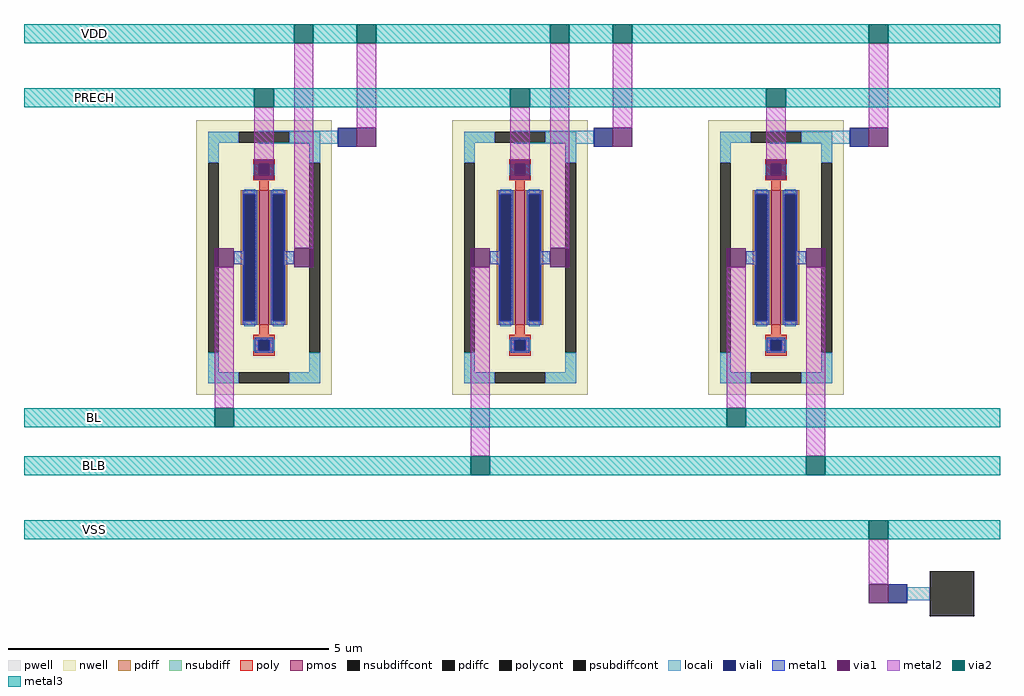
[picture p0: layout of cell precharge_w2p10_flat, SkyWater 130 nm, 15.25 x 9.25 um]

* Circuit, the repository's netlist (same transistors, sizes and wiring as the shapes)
* NGSPICE file created from precharge_w2p10_flat.ext - technology: sky130A

.subckt precharge_w2p10_flat VDD BL BLB PRECH VSS
X0 VDD PRECH BL VDD sky130_fd_pr__pfet_01v8 ad=0.609 pd=4.78 as=0.609 ps=4.78 w=2.1 l=0.15
X1 VDD PRECH BLB VDD sky130_fd_pr__pfet_01v8 ad=0.609 pd=4.78 as=0.609 ps=4.78 w=2.1 l=0.15
X2 BLB PRECH BL VDD sky130_fd_pr__pfet_01v8 ad=0.609 pd=4.78 as=0.609 ps=4.78 w=2.1 l=0.15
.ends

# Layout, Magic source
magic
tech sky130A
magscale 1 2
<< nwell >>
rect 89 -1429 511 -571
rect 889 -1429 1311 -571
rect 1689 -1429 2111 -571
<< pwell >>
rect 2380 -2120 2520 -1980
<< pmos >>
rect 285 -1210 315 -790
rect 1085 -1210 1115 -790
rect 1885 -1210 1915 -790
<< pdiff >>
rect 227 -802 285 -790
rect 227 -1198 239 -802
rect 273 -1198 285 -802
rect 227 -1210 285 -1198
rect 315 -802 373 -790
rect 315 -1198 327 -802
rect 361 -1198 373 -802
rect 315 -1210 373 -1198
rect 1027 -802 1085 -790
rect 1027 -1198 1039 -802
rect 1073 -1198 1085 -802
rect 1027 -1210 1085 -1198
rect 1115 -802 1173 -790
rect 1115 -1198 1127 -802
rect 1161 -1198 1173 -802
rect 1115 -1210 1173 -1198
rect 1827 -802 1885 -790
rect 1827 -1198 1839 -802
rect 1873 -1198 1885 -802
rect 1827 -1210 1885 -1198
rect 1915 -802 1973 -790
rect 1915 -1198 1927 -802
rect 1961 -1198 1973 -802
rect 1915 -1210 1973 -1198
<< pdiffc >>
rect 239 -1198 273 -802
rect 327 -1198 361 -802
rect 1039 -1198 1073 -802
rect 1127 -1198 1161 -802
rect 1839 -1198 1873 -802
rect 1927 -1198 1961 -802
<< nsubdiff >>
rect 125 -641 221 -607
rect 379 -641 475 -607
rect 125 -703 159 -641
rect 441 -703 475 -641
rect 125 -1359 159 -1297
rect 441 -1359 475 -1297
rect 125 -1393 221 -1359
rect 379 -1393 475 -1359
rect 925 -641 1021 -607
rect 1179 -641 1275 -607
rect 925 -703 959 -641
rect 1241 -703 1275 -641
rect 925 -1359 959 -1297
rect 1241 -1359 1275 -1297
rect 925 -1393 1021 -1359
rect 1179 -1393 1275 -1359
rect 1725 -641 1821 -607
rect 1979 -641 2075 -607
rect 1725 -703 1759 -641
rect 2041 -703 2075 -641
rect 1725 -1359 1759 -1297
rect 2041 -1359 2075 -1297
rect 1725 -1393 1821 -1359
rect 1979 -1393 2075 -1359
<< psubdiffcont >>
rect 2380 -2120 2520 -1980
<< nsubdiffcont >>
rect 221 -641 379 -607
rect 125 -1297 159 -703
rect 441 -1297 475 -703
rect 221 -1393 379 -1359
rect 1021 -641 1179 -607
rect 925 -1297 959 -703
rect 1241 -1297 1275 -703
rect 1021 -1393 1179 -1359
rect 1821 -641 1979 -607
rect 1725 -1297 1759 -703
rect 2041 -1297 2075 -703
rect 1821 -1393 1979 -1359
<< poly >>
rect 267 -709 333 -693
rect 267 -743 283 -709
rect 317 -743 333 -709
rect 267 -759 333 -743
rect 285 -790 315 -759
rect 285 -1241 315 -1210
rect 267 -1257 333 -1241
rect 267 -1291 283 -1257
rect 317 -1291 333 -1257
rect 267 -1307 333 -1291
rect 1067 -709 1133 -693
rect 1067 -743 1083 -709
rect 1117 -743 1133 -709
rect 1067 -759 1133 -743
rect 1085 -790 1115 -759
rect 1085 -1241 1115 -1210
rect 1067 -1257 1133 -1241
rect 1067 -1291 1083 -1257
rect 1117 -1291 1133 -1257
rect 1067 -1307 1133 -1291
rect 1867 -709 1933 -693
rect 1867 -743 1883 -709
rect 1917 -743 1933 -709
rect 1867 -759 1933 -743
rect 1885 -790 1915 -759
rect 1885 -1241 1915 -1210
rect 1867 -1257 1933 -1241
rect 1867 -1291 1883 -1257
rect 1917 -1291 1933 -1257
rect 1867 -1307 1933 -1291
<< polycont >>
rect 283 -743 317 -709
rect 283 -1291 317 -1257
rect 1083 -743 1117 -709
rect 1083 -1291 1117 -1257
rect 1883 -743 1917 -709
rect 1883 -1291 1917 -1257
<< locali >>
rect 280 -607 530 -604
rect 125 -641 221 -607
rect 379 -641 530 -607
rect 125 -703 159 -641
rect 280 -644 530 -641
rect 441 -703 475 -644
rect 1080 -607 1330 -604
rect 925 -641 1021 -607
rect 1179 -641 1330 -607
rect 267 -743 283 -709
rect 317 -743 333 -709
rect 239 -802 273 -786
rect 239 -1214 273 -1198
rect 327 -802 361 -786
rect 327 -1214 361 -1198
rect 267 -1291 283 -1257
rect 317 -1291 333 -1257
rect 125 -1359 159 -1297
rect 441 -1359 475 -1297
rect 125 -1393 221 -1359
rect 379 -1393 475 -1359
rect 925 -703 959 -641
rect 1080 -644 1330 -641
rect 1241 -703 1275 -644
rect 1880 -607 2130 -604
rect 1725 -641 1821 -607
rect 1979 -641 2130 -607
rect 1067 -743 1083 -709
rect 1117 -743 1133 -709
rect 1039 -802 1073 -786
rect 1039 -1214 1073 -1198
rect 1127 -802 1161 -786
rect 1127 -1214 1161 -1198
rect 1067 -1291 1083 -1257
rect 1117 -1291 1133 -1257
rect 925 -1359 959 -1297
rect 1241 -1359 1275 -1297
rect 925 -1393 1021 -1359
rect 1179 -1393 1275 -1359
rect 1725 -703 1759 -641
rect 1880 -644 2130 -641
rect 2041 -703 2075 -644
rect 1867 -743 1883 -709
rect 1917 -743 1933 -709
rect 1839 -802 1873 -786
rect 1839 -1214 1873 -1198
rect 1927 -802 1961 -786
rect 1927 -1214 1961 -1198
rect 1867 -1291 1883 -1257
rect 1917 -1291 1933 -1257
rect 1725 -1359 1759 -1297
rect 2041 -1359 2075 -1297
rect 1725 -1393 1821 -1359
rect 1979 -1393 2075 -1359
rect 2310 -2070 2380 -2030
<< viali >>
rect 530 -654 590 -594
rect 283 -743 317 -709
rect 239 -1198 273 -802
rect 327 -1198 361 -802
rect 283 -1291 317 -1257
rect 1330 -654 1390 -594
rect 1083 -743 1117 -709
rect 1039 -1198 1073 -802
rect 1127 -1198 1161 -802
rect 1083 -1291 1117 -1257
rect 2130 -654 2190 -594
rect 1883 -743 1917 -709
rect 1839 -1198 1873 -802
rect 1927 -1198 1961 -802
rect 1883 -1291 1917 -1257
rect 2250 -2080 2310 -2020
<< metal1 >>
rect 233 -802 279 -790
rect 233 -980 239 -802
rect 206 -1020 239 -980
rect 233 -1198 239 -1020
rect 273 -1198 279 -802
rect 233 -1210 279 -1198
rect 321 -802 367 -790
rect 321 -1198 327 -802
rect 361 -980 367 -802
rect 1033 -802 1079 -790
rect 361 -1020 394 -980
rect 361 -1198 367 -1020
rect 1033 -980 1039 -802
rect 1006 -1020 1039 -980
rect 321 -1210 367 -1198
rect 1033 -1198 1039 -1020
rect 1073 -1198 1079 -802
rect 1033 -1210 1079 -1198
rect 1121 -802 1167 -790
rect 1121 -1198 1127 -802
rect 1161 -980 1167 -802
rect 1833 -802 1879 -790
rect 1161 -1020 1194 -980
rect 1161 -1198 1167 -1020
rect 1833 -980 1839 -802
rect 1806 -1020 1839 -980
rect 1121 -1210 1167 -1198
rect 1833 -1198 1839 -1020
rect 1873 -1198 1879 -802
rect 1833 -1210 1879 -1198
rect 1921 -802 1967 -790
rect 1921 -1198 1927 -802
rect 1961 -980 1967 -802
rect 1961 -1020 1994 -980
rect 1961 -1198 1967 -1020
rect 1921 -1210 1967 -1198
rect 271 -1257 329 -1251
rect 271 -1291 283 -1257
rect 317 -1291 329 -1257
rect 271 -1297 329 -1291
rect 1071 -1257 1129 -1251
rect 1071 -1291 1083 -1257
rect 1117 -1291 1129 -1257
rect 1071 -1297 1129 -1291
rect 1871 -1257 1929 -1251
rect 1871 -1291 1883 -1257
rect 1917 -1291 1929 -1257
rect 1871 -1297 1929 -1291
<< via1 >>
rect 590 -654 650 -594
rect 1390 -654 1450 -594
rect 2190 -654 2250 -594
rect 270 -709 330 -696
rect 270 -743 283 -709
rect 283 -743 317 -709
rect 317 -743 330 -709
rect 270 -756 330 -743
rect 1070 -709 1130 -696
rect 1070 -743 1083 -709
rect 1083 -743 1117 -709
rect 1117 -743 1130 -709
rect 1070 -756 1130 -743
rect 1870 -709 1930 -696
rect 1870 -743 1883 -709
rect 1883 -743 1917 -709
rect 1917 -743 1930 -709
rect 1870 -756 1930 -743
rect 146 -1030 206 -970
rect 394 -1030 454 -970
rect 946 -1030 1006 -970
rect 1194 -1030 1254 -970
rect 1746 -1030 1806 -970
rect 1994 -1030 2054 -970
rect 2190 -2080 2250 -2020
<< metal2 >>
rect 270 -696 330 -530
rect 394 -970 454 -330
rect 590 -594 650 -330
rect 1070 -696 1130 -530
rect 1194 -970 1254 -330
rect 1390 -594 1450 -330
rect 1870 -696 1930 -530
rect 2190 -594 2250 -330
rect 146 -1470 206 -1030
rect 946 -1620 1006 -1030
rect 1746 -1470 1806 -1030
rect 1994 -1620 2054 -1030
rect 2190 -2020 2250 -1880
<< via2 >>
rect 394 -330 454 -270
rect 270 -530 330 -470
rect 590 -330 650 -270
rect 1194 -330 1254 -270
rect 1070 -530 1130 -470
rect 1390 -330 1450 -270
rect 2190 -330 2250 -270
rect 1870 -530 1930 -470
rect 146 -1530 206 -1470
rect 1746 -1530 1806 -1470
rect 946 -1680 1006 -1620
rect 1994 -1680 2054 -1620
rect 2190 -1880 2250 -1820
<< metal3 >>
rect -450 -330 394 -270
rect 454 -330 590 -270
rect 650 -330 1194 -270
rect 1254 -330 1390 -270
rect 1450 -330 2190 -270
rect 2250 -330 2600 -270
rect -450 -530 270 -470
rect 330 -530 1070 -470
rect 1130 -530 1870 -470
rect 1930 -530 2600 -470
rect -450 -1530 146 -1470
rect 206 -1530 1746 -1470
rect 1806 -1530 2600 -1470
rect -450 -1680 946 -1620
rect 1006 -1680 1994 -1620
rect 2054 -1680 2600 -1620
rect -450 -1880 2190 -1820
rect 2250 -1880 2600 -1820
<< labels >>
rlabel metal3 -255 -325 -205 -275 0 VDD
port 0 n
rlabel metal3 -255 -1525 -205 -1475 0 BL
port 1 n
rlabel metal3 -255 -1675 -205 -1625 0 BLB
port 2 n
rlabel metal3 -255 -525 -205 -475 0 PRECH
port 3 n
rlabel metal3 -255 -1875 -205 -1825 0 VSS
port 4 n
<< end >>
